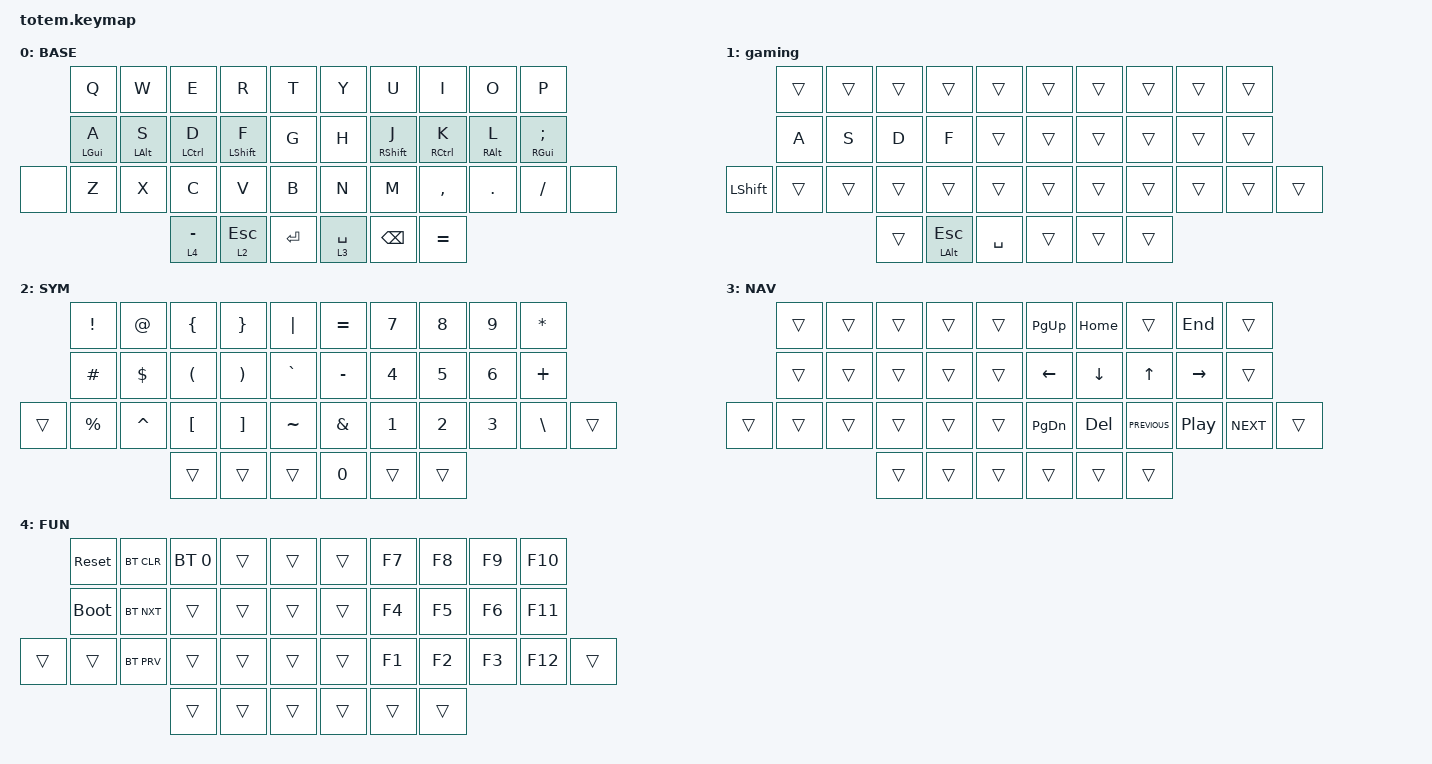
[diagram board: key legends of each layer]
//
//                                                        ▀▀▀▀▀     ▀▀▀▀▀          ▀▀█▀▀
//                                                        ▄▀▀▀▄  ▄  ▄▀▀▀▄  ▄  ▄▀▀▀▄  █  ▄▀▀▀▄
//                                                        █   █  █  █   █  █  █   █  █  █   █
//                                                         ▀▀▀   █   ▀▀▀   █   ▀▀▀   ▀   ▀▀▀
//                                                               █      ▄▄▄█▄▄▄    █   █  
//                                                               ▀      █  █  █     █▄█
//                                                             ▀▀▀▀▀    █  █  █      ▀
//                                                                      ▀  ▀  ▀
//
// ▄▄▄▄▄▄▄▄▄▄▄▄▄▄▄▄▄▄▄▄▄▄▄▄▄▄▄▄▄▄▄▄▄▄▄▄▄▄▄▄▄▄▄▄▄▄▄▄▄▄▄▄▄▄▄▄▄▄▄▄▄▄▄▄▄▄▄▄▄▄▄▄▄▄▄▄▄▄▄▄▄▄▄▄▄▄▄▄▄▄▄▄▄▄▄▄▄▄▄▄▄▄▄▄▄▄▄▄▄▄▄▄▄▄▄▄▄▄▄▄▄▄▄▄▄▄▄▄▄▄▄▄▄▄▄▄▄▄▄▄▄▄▄▄▄▄▄▄▄

#include <behaviors.dtsi>
#include <dt-bindings/zmk/bt.h>
#include <dt-bindings/zmk/keys.h>

#define BASE 0
#define NAV  1
#define SYM  2
#define ADJ  3
#define TVP1 4
#define TVP2 5

/ {
    combos {
        compatible = "zmk,combos";

        tab {
            bindings = <&kp TAB>;
            key-positions = <12 13>;
        };

        apostrophe {
            bindings = <&kp APOS>;
            key-positions = <18 19>;
        };

        caps_word {
            bindings = <&caps_word>;
            key-positions = <13 16>;
        };

        gaming {
            bindings = <&tog 1>;
            key-positions = <34 35>;
            layers = <0 1>;
        };
    };

    behaviors {
        hml: hml {
            compatible = "zmk,behavior-hold-tap";
            label = "HMR_Left";
            bindings = <&kp>, <&kp>;

            #binding-cells = <2>;
            tapping-term-ms = <280>;
            quick-tap-ms = <175>;
            require-prior-idle-ms = <150>;
            flavor = "balanced";
            hold-trigger-key-positions = <5 6 15 16 5 6 7 8 9 15 16 17 18 19 26 27 28 29 30 31 32 33 34 35 36 37>;
            hold-trigger-on-release;
        };

        hmr: hmr {
            compatible = "zmk,behavior-hold-tap";
            label = "HRM_Right";
            bindings = <&kp>, <&kp>;

            #binding-cells = <2>;
            tapping-term-ms = <280>;
            quick-tap-ms = <175>;
            require-prior-idle-ms = <150>;
            flavor = "balanced";
            hold-trigger-key-positions = <0 1 2 3 4 10 11 12 13 14 20 22 23 24 25 21 32 33 34 35 36 37>;
            hold-trigger-on-release;
        };

        ltl: ltl {
            compatible = "zmk,behavior-hold-tap";
            label = "LTL";
            bindings = <&mo>, <&kp>;

            #binding-cells = <2>;
            tapping-term-ms = <280>;
            quick-tap-ms = <175>;
            require-prior-idle-ms = <150>;
            flavor = "balanced";
            hold-trigger-key-positions = <5 6 15 16 5 6 7 8 9 15 16 17 18 19 26 27 28 29 30 31 32 33 34 35 36 37>;
            hold-trigger-on-release;
        };

        ltr: ltr {
            compatible = "zmk,behavior-hold-tap";
            label = "LTR";
            bindings = <&mo>, <&kp>;

            #binding-cells = <2>;
            tapping-term-ms = <280>;
            quick-tap-ms = <175>;
            require-prior-idle-ms = <150>;
            flavor = "balanced";
            hold-trigger-key-positions = <0 1 2 3 4 10 11 12 13 14 20 22 23 24 25 21 32 33 34 35 36 37>;
            hold-trigger-on-release;
        };
    };

    keymap {
        compatible = "zmk,keymap";

        // ▄▄▄▄▄▄▄▄▄▄▄▄▄▄▄▄▄▄▄▄▄▄▄▄▄▄▄▄▄▄▄▄▄▄▄▄▄▄▄▄▄▄▄▄▄▄▄▄▄▄▄▄▄▄▄▄▄▄▄▄▄▄▄▄▄▄▄▄▄▄▄▄▄▄▄▄▄▄▄▄▄▄▄▄▄▄▄▄▄▄▄▄▄▄▄▄▄▄▄▄▄▄▄▄▄▄▄▄▄▄▄▄▄▄▄▄▄▄▄▄▄▄▄▄▄▄▄▄▄▄▄▄▄▄▄▄▄▄▄▄▄▄▄▄▄▄▄▄▄

        base {
            // ┏━━━━━━━━━━━━━━━━━━━━━━━━━━━━━━━━━━━━━━━┓

            label = "BASE";

            // ┗━━━━━━━━━━━━━━━━━━━━━━━━━━━━━━━━━━━━━━━┛
            //             ┏━━━━━━━━━━━┳━━━━━━━━━━━┳━━━━━━━━━━━┳━━━━━━━━━━━┳━━━━━━━━━━━┓   ┏━━━━━━━━━━━┳━━━━━━━━━━━┳━━━━━━━━━━━┳━━━━━━━━━━━┳━━━━━━━━━━━┓
            //             ┃     Q     ┃     W     ┃     F     ┃     P     ┃     G     ┃   ┃     J     ┃     L     ┃     U     ┃     Y     ┃     ;     ┃
            //             ┣━━━━━━━━━━━╋━━━━━━━━━━━╋━━━━━━━━━━━╋━━━━━━━━━━━╋━━━━━━━━━━━┫   ┣━━━━━━━━━━━╋━━━━━━━━━━━╋━━━━━━━━━━━╋━━━━━━━━━━━╋━━━━━━━━━━━┫
            //             ┃     A     ┃     R     ┃     S     ┃     T     ┃     D     ┃   ┃     H     ┃     N     ┃     E     ┃     I     ┃     O     ┃
            // ┏━━━━━━━━━━━╋━━━━━━━━━━━╋━━━━━━━━━━━╋━━━━━━━━━━━╋━━━━━━━━━━━╋━━━━━━━━━━━┫   ┣━━━━━━━━━━━╋━━━━━━━━━━━╋━━━━━━━━━━━╋━━━━━━━━━━━╋━━━━━━━━━━━╋━━━━━━━━━━━┓
            // ┃     Q     ┃     Z     ┃     X     ┃     C     ┃     V     ┃     B     ┃   ┃     K     ┃     M     ┃     ,     ┃     .     ┃     /     ┃     \     ┃
            // ┗━━━━━━━━━━━┻━━━━━━━━━━━┻━━━━━━━━━━━╋━━━━━━━━━━━╋━━━━━━━━━━━╋━━━━━━━━━━━┫   ┣━━━━━━━━━━━╋━━━━━━━━━━━╋━━━━━━━━━━━╋━━━━━━━━━━━┻━━━━━━━━━━━┻━━━━━━━━━━━┛
            //                                     ┃    DEL    ┃    TAB    ┃    SPC    ┃   ┃   ENTER   ┃           ┃   BSPC    ┃
            //                                     ┗━━━━━━━━━━━┻━━━━━━━━━━━┻━━━━━━━━━━━┛   ┗━━━━━━━━━━━┻━━━━━━━━━━━┻━━━━━━━━━━━┛

            bindings = <
       &kp Q        &kp W        &kp E         &kp R         &kp T        &kp Y         &kp U          &kp I         &kp O        &kp P
       &hml LGUI A  &hml LALT S  &hml LCTRL D  &hml LSHFT F  &kp G        &kp H         &hmr RSHFT J   &hmr RCTRL K  &hmr RALT L  &hmr RGUI SEMICOLON
&none  &kp Z        &kp X        &kp C         &kp V         &kp B        &kp N         &kp M          &kp COMMA     &kp DOT      &kp FSLH             &none
                                 &ltl 4 MINUS  &ltl 2 ESC    &kp ENTER    &ltr 3 SPACE  &kp BACKSPACE  &kp EQUAL
            >;
        };

        gaming {
            bindings = <
                &trans  &trans  &trans  &trans               &trans       &trans  &trans  &trans  &trans  &trans
                &kp A   &kp S   &kp D   &kp F                &trans       &trans  &trans  &trans  &trans  &trans
&kp LEFT_SHIFT  &trans  &trans  &trans  &trans               &trans       &trans  &trans  &trans  &trans  &trans  &trans
                                &trans  &mt LEFT_ALT ESCAPE  &kp SPACE    &trans  &trans  &trans
            >;
        };

        symbols {
            // ┏━━━━━━━━━━━━━━━━━━━━━━━━━━━━━━━━━━━━━━━┓

            label = "SYM";

            // ┗━━━━━━━━━━━━━━━━━━━━━━━━━━━━━━━━━━━━━━━┛
            //             ┏━━━━━━━━━━━┳━━━━━━━━━━━┳━━━━━━━━━━━┳━━━━━━━━━━━┳━━━━━━━━━━━┓   ┏━━━━━━━━━━━┳━━━━━━━━━━━┳━━━━━━━━━━━┳━━━━━━━━━━━┳━━━━━━━━━━━┓
            //             ┃     !     ┃     @     ┃     #     ┃     $     ┃     %     ┃   ┃     ˆ     ┃     &     ┃     Ü     ┃     '     ┃     "     ┃
            //             ┣━━━━━━━━━━━╋━━━━━━━━━━━╋━━━━━━━━━━━╋━━━━━━━━━━━╋━━━━━━━━━━━┫   ┣━━━━━━━━━━━╋━━━━━━━━━━━╋━━━━━━━━━━━╋━━━━━━━━━━━╋━━━━━━━━━━━┫
            //             ┃     Ä     ┃           ┃    SZ     ┃           ┃           ┃   ┃   MUTE    ┃   YEN     ┃   EURO    ┃  POUND    ┃     Ö     ┃
            // ┏━━━━━━━━━━━╋━━━━━━━━━━━╋━━━━━━━━━━━╋━━━━━━━━━━━╋━━━━━━━━━━━╋━━━━━━━━━━━┫   ┣━━━━━━━━━━━╋━━━━━━━━━━━╋━━━━━━━━━━━╋━━━━━━━━━━━╋━━━━━━━━━━━╋━━━━━━━━━━━┓
            // ┃           ┃  EMAIL1   ┃  EMAIL2   ┃           ┃           ┃           ┃   ┃   VOL-    ┃   VOL+    ┃   LAST    ┃   NEXT    ┃     \     ┃           ┃
            // ┗━━━━━━━━━━━┻━━━━━━━━━━━┻━━━━━━━━━━━╋━━━━━━━━━━━╋━━━━━━━━━━━╋━━━━━━━━━━━┫   ┣━━━━━━━━━━━╋━━━━━━━━━━━╋━━━━━━━━━━━╋━━━━━━━━━━━┻━━━━━━━━━━━┻━━━━━━━━━━━┛
            //                                     ┃           ┃    GIF    ┃    ADJ    ┃   ┃           ┃           ┃           ┃
            //                                     ┗━━━━━━━━━━━┻━━━━━━━━━━━┻━━━━━━━━━━━┛   ┗━━━━━━━━━━━┻━━━━━━━━━━━┻━━━━━━━━━━━┛

            bindings = <
        &kp EXCL     &kp AT      &kp LEFT_BRACE        &kp RIGHT_BRACE        &kp PIPE     &kp EQUAL      &kp NUMBER_7  &kp NUMBER_8  &kp NUMBER_9  &kp ASTERISK
        &kp HASH     &kp DOLLAR  &kp LEFT_PARENTHESIS  &kp RIGHT_PARENTHESIS  &kp GRAVE    &kp MINUS      &kp NUMBER_4  &kp NUMBER_5  &kp NUMBER_6  &kp PLUS
&trans  &kp PERCENT  &kp CARET   &kp LEFT_BRACKET      &kp RIGHT_BRACKET      &kp TILDE    &kp AMPERSAND  &kp NUMBER_1  &kp NUMBER_2  &kp NUMBER_3  &kp BSLH      &trans
                                 &trans                &trans                 &trans       &kp NUMBER_0   &trans        &trans
            >;
        };

        navigation {
            // ┏━━━━━━━━━━━━━━━━━━━━━━━━━━━━━━━━━━━━━━━┓

            label = "NAV";

            // ┗━━━━━━━━━━━━━━━━━━━━━━━━━━━━━━━━━━━━━━━┛
            //             ┏━━━━━━━━━━━┳━━━━━━━━━━━┳━━━━━━━━━━━┳━━━━━━━━━━━┳━━━━━━━━━━━┓   ┏━━━━━━━━━━━┳━━━━━━━━━━━┳━━━━━━━━━━━┳━━━━━━━━━━━┳━━━━━━━━━━━┓
            //             ┃           ┃           ┃     UP    ┃           ┃     {     ┃   ┃     }     ┃     7     ┃     8     ┃     9     ┃     +     ┃
            //             ┣━━━━━━━━━━━╋━━━━━━━━━━━╋━━━━━━━━━━━╋━━━━━━━━━━━╋━━━━━━━━━━━┫   ┣━━━━━━━━━━━╋━━━━━━━━━━━╋━━━━━━━━━━━╋━━━━━━━━━━━╋━━━━━━━━━━━┫
            //             ┃   SHIFT   ┃   LEFT    ┃    DOWN   ┃   RIGHT   ┃     [     ┃   ┃     ]     ┃     4     ┃     5     ┃     6     ┃     -     ┃
            // ┏━━━━━━━━━━━╋━━━━━━━━━━━╋━━━━━━━━━━━╋━━━━━━━━━━━╋━━━━━━━━━━━╋━━━━━━━━━━━┫   ┣━━━━━━━━━━━╋━━━━━━━━━━━╋━━━━━━━━━━━╋━━━━━━━━━━━╋━━━━━━━━━━━╋━━━━━━━━━━━┓
            // ┃           ┃           ┃   P UP    ┃  C LOCK   ┃  P DOWN   ┃     (     ┃   ┃     )     ┃     1     ┃     2     ┃     3     ┃     *     ┃           ┃
            // ┗━━━━━━━━━━━┻━━━━━━━━━━━┻━━━━━━━━━━━╋━━━━━━━━━━━╋━━━━━━━━━━━╋━━━━━━━━━━━┫   ┣━━━━━━━━━━━╋━━━━━━━━━━━╋━━━━━━━━━━━╋━━━━━━━━━━━┻━━━━━━━━━━━┻━━━━━━━━━━━┛
            //                                     ┃           ┃    TAB    ┃    SPC    ┃   ┃    DEL    ┃     0     ┃           ┃
            //                                     ┗━━━━━━━━━━━┻━━━━━━━━━━━┻━━━━━━━━━━━┛   ┗━━━━━━━━━━━┻━━━━━━━━━━━┻━━━━━━━━━━━┛

            bindings = <
        &trans  &trans  &trans  &trans  &trans    &kp PAGE_UP    &kp HOME        &trans          &kp END           &trans
        &trans  &trans  &trans  &trans  &trans    &kp LEFT       &kp DOWN_ARROW  &kp UP_ARROW    &kp RIGHT_ARROW   &trans
&trans  &trans  &trans  &trans  &trans  &trans    &kp PAGE_DOWN  &kp DELETE      &kp C_PREVIOUS  &kp C_PLAY_PAUSE  &kp C_NEXT  &trans
                        &trans  &trans  &trans    &trans         &trans          &trans
            >;
        };

        function {
            // ┏━━━━━━━━━━━━━━━━━━━━━━━━━━━━━━━━━━━━━━━┓

            label = "FUN";

            // ┗━━━━━━━━━━━━━━━━━━━━━━━━━━━━━━━━━━━━━━━┛
            //             ┏━━━━━━━━━━━┳━━━━━━━━━━━┳━━━━━━━━━━━┳━━━━━━━━━━━┳━━━━━━━━━━━┓   ┏━━━━━━━━━━━┳━━━━━━━━━━━┳━━━━━━━━━━━┳━━━━━━━━━━━┳━━━━━━━━━━━┓
            //             ┃   RESET   ┃ BT CLEAR  ┃  OUT TOG  ┃           ┃           ┃   ┃           ┃    F7     ┃    F8     ┃    F9     ┃    F12    ┃
            //             ┣━━━━━━━━━━━╋━━━━━━━━━━━╋━━━━━━━━━━━╋━━━━━━━━━━━╋━━━━━━━━━━━┫   ┣━━━━━━━━━━━╋━━━━━━━━━━━╋━━━━━━━━━━━╋━━━━━━━━━━━╋━━━━━━━━━━━┫
            //             ┃ BOOTLOAD  ┃ BT NEXT   ┃           ┃           ┃           ┃   ┃           ┃    F4     ┃    F5     ┃    F6     ┃    F11    ┃
            // ┏━━━━━━━━━━━╋━━━━━━━━━━━╋━━━━━━━━━━━╋━━━━━━━━━━━╋━━━━━━━━━━━╋━━━━━━━━━━━┫   ┣━━━━━━━━━━━╋━━━━━━━━━━━╋━━━━━━━━━━━╋━━━━━━━━━━━╋━━━━━━━━━━━╋━━━━━━━━━━━┓
            // ┃           ┃           ┃ BT PREV   ┃           ┃           ┃           ┃   ┃           ┃    F1     ┃    F2     ┃    F3     ┃    F10    ┃           ┃
            // ┗━━━━━━━━━━━┻━━━━━━━━━━━┻━━━━━━━━━━━╋━━━━━━━━━━━╋━━━━━━━━━━━╋━━━━━━━━━━━┫   ┣━━━━━━━━━━━╋━━━━━━━━━━━╋━━━━━━━━━━━╋━━━━━━━━━━━┻━━━━━━━━━━━┻━━━━━━━━━━━┛
            //                                     ┃           ┃           ┃           ┃   ┃           ┃           ┃           ┃
            //                                     ┗━━━━━━━━━━━┻━━━━━━━━━━━┻━━━━━━━━━━━┛   ┗━━━━━━━━━━━┻━━━━━━━━━━━┻━━━━━━━━━━━┛

            bindings = <
        &sys_reset   &bt BT_CLR  &bt BT_SEL 0  &trans  &trans    &trans  &kp F7  &kp F8  &kp F9  &kp F10
        &bootloader  &bt BT_NXT  &trans        &trans  &trans    &trans  &kp F4  &kp F5  &kp F6  &kp F11
&trans  &trans       &bt BT_PRV  &trans        &trans  &trans    &trans  &kp F1  &kp F2  &kp F3  &kp F12  &trans
                                 &trans        &trans  &trans    &trans  &trans  &trans
            >;
        };

        // ▄▄▄▄▄▄▄▄▄▄▄▄▄▄▄▄▄▄▄▄▄▄▄▄▄▄▄▄▄▄▄▄▄▄▄▄▄▄▄▄▄▄▄▄▄▄▄▄▄▄▄▄▄▄▄▄▄▄▄▄▄▄▄▄▄▄▄▄▄▄▄▄▄▄▄▄▄▄▄▄▄▄▄▄▄▄▄▄▄▄▄▄▄▄▄▄▄▄▄▄▄▄▄▄▄▄▄▄▄▄▄▄▄▄▄▄▄▄▄▄▄▄▄▄▄▄▄▄▄▄▄▄▄▄▄▄▄▄▄▄▄▄▄▄▄▄▄▄▄
        // ▄▄▄▄▄▄▄▄▄▄▄▄▄▄▄▄▄▄▄▄▄▄▄▄▄▄▄▄▄▄▄▄▄▄▄▄▄▄▄▄▄▄▄▄▄▄▄▄▄▄▄▄▄▄▄▄▄▄▄▄▄▄▄▄▄▄▄▄▄▄▄▄▄▄▄▄▄▄▄▄▄▄▄▄▄▄▄▄▄▄▄▄▄▄▄▄▄▄▄▄▄▄▄▄▄▄▄▄▄▄▄▄▄▄▄▄▄▄▄▄▄▄▄▄▄▄▄▄▄▄▄▄▄▄▄▄▄▄▄▄▄▄▄▄▄▄▄▄▄
    };
};
